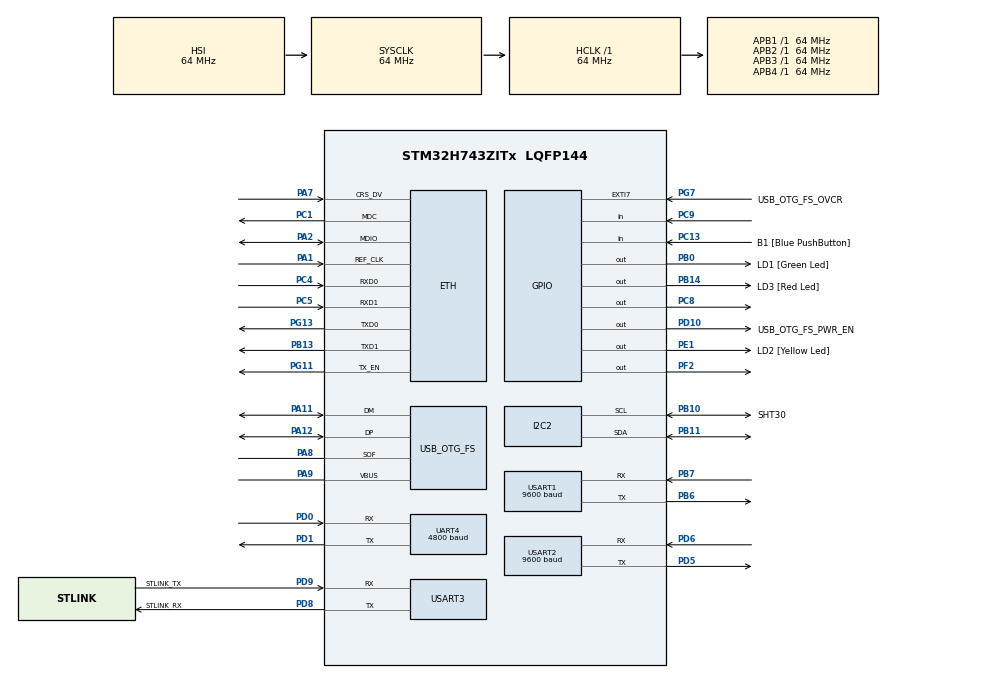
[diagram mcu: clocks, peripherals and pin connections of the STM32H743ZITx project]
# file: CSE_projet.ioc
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ETH.MediaInterface=HAL_ETH_RMII_MODE
Mcu.Family=STM32H7
Mcu.Name=STM32H743ZITx
Mcu.Package=LQFP144
NVIC.PriorityGroup=NVIC_PRIORITYGROUP_4
NVIC.RTC_WKUP_IRQn=true\:0\:0\:false\:false\:true\:true\:true\:true
NVIC.UART4_IRQn=true\:0\:0\:false\:false\:true\:true\:true\:true
NVIC.USART1_IRQn=true\:0\:0\:false\:false\:true\:true\:true\:true
NVIC.USART2_IRQn=true\:0\:0\:false\:false\:true\:true\:true\:true
NVIC.USART3_IRQn=true\:0\:0\:false\:false\:true\:true\:true\:true
PA1.Mode=RMII
PA1.Signal=ETH_REF_CLK
PA11.Mode=Device_Only
PA11.Signal=USB_OTG_FS_DM
PA12.Mode=Device_Only
PA12.Signal=USB_OTG_FS_DP
PA2.Mode=RMII
PA2.Signal=ETH_MDIO
PA7.Mode=RMII
PA7.Signal=ETH_CRS_DV
PA8.Mode=Activate_SOF_FS
PA8.Signal=USB_OTG_FS_SOF
PA9.Mode=Activate_VBUS
PA9.Signal=USB_OTG_FS_VBUS
PB0.GPIO_Label=LD1 [Green Led]
PB0.Signal=GPIO_Output
PB10.GPIO_Label=SHT30
PB10.GPIO_Pu=GPIO_NOPULL
PB10.Mode=I2C
PB10.Signal=I2C2_SCL
PB11.GPIO_Pu=GPIO_NOPULL
PB11.Mode=I2C
PB11.Signal=I2C2_SDA
PB13.Mode=RMII
PB13.Signal=ETH_TXD1
PB14.GPIO_Label=LD3 [Red Led]
PB14.Signal=GPIO_Output
PB6.Mode=Asynchronous
PB6.Signal=USART1_TX
PB7.Mode=Asynchronous
PB7.Signal=USART1_RX
PC1.Mode=RMII
PC1.Signal=ETH_MDC
PC13.GPIO_Label=B1 [Blue PushButton]
PC13.Signal=GPIO_Input
PC14-OSC32_IN\ (OSC32_IN).Mode=LSE-External-Oscillator
PC14-OSC32_IN\ (OSC32_IN).Signal=RCC_OSC32_IN
PC15-OSC32_OUT\ (OSC32_OUT).Mode=LSE-External-Oscillator
PC15-OSC32_OUT\ (OSC32_OUT).Signal=RCC_OSC32_OUT
PC4.Mode=RMII
PC4.Signal=ETH_RXD0
PC5.Mode=RMII
PC5.Signal=ETH_RXD1
PC8.Signal=GPIO_Output
PC9.Signal=GPIO_Input
PD0.Mode=Asynchronous
PD0.Signal=UART4_RX
PD1.Mode=Asynchronous
PD1.Signal=UART4_TX
PD10.GPIO_Label=USB_OTG_FS_PWR_EN
PD10.Signal=GPIO_Output
PD5.Mode=Asynchronous
PD5.Signal=USART2_TX
PD6.Mode=Asynchronous
PD6.Signal=USART2_RX
PD8.GPIO_Label=STLINK_RX
PD8.Mode=Asynchronous
PD8.Signal=USART3_TX
PD9.GPIO_Label=STLINK_TX
PD9.Mode=Asynchronous
PD9.Signal=USART3_RX
PE1.GPIO_Label=LD2 [Yellow Led]
PE1.Signal=GPIO_Output
PF2.Signal=GPIO_Output
PG11.Mode=RMII
PG11.Signal=ETH_TX_EN
PG13.Mode=RMII
PG13.Signal=ETH_TXD0
PG7.GPIO_Label=USB_OTG_FS_OVCR
PG7.Signal=GPXTI7
PH0-OSC_IN\ (PH0).Mode=HSE-External-Clock-Source
PH0-OSC_IN\ (PH0).Signal=RCC_OSC_IN
PH1-OSC_OUT\ (PH1).Signal=RCC_OSC_OUT
ProjectManager.HeapSize=0x200
ProjectManager.StackSize=0x400
ProjectManager.TargetToolchain=STM32CubeIDE
RCC.ADCFreq_Value=16125000
RCC.APB1Freq_Value=64000000
RCC.APB2Freq_Value=64000000
RCC.APB3Freq_Value=64000000
RCC.APB4Freq_Value=64000000
RCC.CortexFreq_Value=64000000
RCC.DIVM1=1
RCC.DIVN1=24
RCC.DIVQ1=4
RCC.HCLKFreq_Value=64000000
RCC.HSE_VALUE=8000000
RCC.PLLFRACN=0
RCC.PWR_Regulator_Voltage_Scale=PWR_REGULATOR_VOLTAGE_SCALE2
RCC.RTCClockSelection=RCC_RTCCLKSOURCE_LSE
RCC.SYSCLKFreq_VALUE=64000000
RCC.USBFreq_Value=48000000
RTC.WakeUpClock-WakeUp=RTC_WAKEUPCLOCK_CK_SPRE_16BITS
UART4.BaudRate=4800
USART1.BaudRate=9600
USART1.VirtualMode-Asynchronous=VM_ASYNC
USART2.BaudRate=9600
USART2.VirtualMode-Asynchronous=VM_ASYNC
USART3.VirtualMode-Asynchronous=VM_ASYNC
USB_OTG_FS.VirtualMode=Device_Only
VP_RTC_VS_RTC_Activate.Mode=RTC_Enabled
VP_RTC_VS_RTC_WakeUp_intern.Mode=WakeUp
board=NUCLEO-H743ZI2

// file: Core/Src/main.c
/* USER CODE BEGIN Header */
/**
 ******************************************************************************
 * @file           : main.c
 * @brief          : Main program body
 ******************************************************************************
 * @attention
 *
 * Copyright (c) 2022 STMicroelectronics.
 * All rights reserved.
 *
 * 1This software is licensed under terms that can be found in the LICENSE file
 * in the root directory of this software component.
 * If no LICENSE file comes with this software, it is provided AS-IS.
 *
 ******************************************************************************
 */
/* USER CODE END Header */
#include "main.h"
#include "string.h"

/* USER CODE BEGIN PD */
#define GPS_LENGTH 23
#define MIN5 0x012C
#define MIN1 0x003C
#define SEC10 0x000A
/* USER CODE END PD */

#if defined ( __ICCARM__ ) /*!< IAR Compiler */
#pragma location=0x30000000
ETH_DMADescTypeDef  DMARxDscrTab[ETH_RX_DESC_CNT]; /* Ethernet Rx DMA Descriptors */
#pragma location=0x30000200
ETH_DMADescTypeDef  DMATxDscrTab[ETH_TX_DESC_CNT]; /* Ethernet Tx DMA Descriptors */
#pragma location=0x30000260
uint8_t Rx_Buff[ETH_RX_DESC_CNT][ETH_MAX_PACKET_SIZE]; /* Ethernet Receive Buffers */

#elif defined ( __CC_ARM )  /* MDK ARM Compiler */

__attribute__((at(0x30000000))) ETH_DMADescTypeDef  DMARxDscrTab[ETH_RX_DESC_CNT]; /* Ethernet Rx DMA Descriptors */
__attribute__((at(0x30000200))) ETH_DMADescTypeDef  DMATxDscrTab[ETH_TX_DESC_CNT]; /* Ethernet Tx DMA Descriptors */
__attribute__((at(0x30000260))) uint8_t Rx_Buff[ETH_RX_DESC_CNT][ETH_MAX_PACKET_SIZE]; /* Ethernet Receive Buffer */

#elif defined ( __GNUC__ ) /* GNU Compiler */
ETH_DMADescTypeDef DMARxDscrTab[ETH_RX_DESC_CNT] __attribute__((section(".RxDecripSection"))); /* Ethernet Rx DMA Descriptors */
ETH_DMADescTypeDef DMATxDscrTab[ETH_TX_DESC_CNT] __attribute__((section(".TxDecripSection"))); /* Ethernet Tx DMA Descriptors */
uint8_t Rx_Buff[ETH_RX_DESC_CNT][ETH_MAX_PACKET_SIZE] __attribute__((section(".RxArraySection"))); /* Ethernet Receive Buffers */
#endif

ETH_TxPacketConfig TxConfig;

ETH_HandleTypeDef heth;

I2C_HandleTypeDef hi2c2;

RTC_HandleTypeDef hrtc;

UART_HandleTypeDef huart4;
UART_HandleTypeDef huart1;
UART_HandleTypeDef huart2;
UART_HandleTypeDef huart3;

PCD_HandleTypeDef hpcd_USB_OTG_FS;

/* USER CODE BEGIN PV */
float GPS_cleandata[2] = { 0 };
float NPK_cleandata[8] = { 0 }; //Données du capteur NPK
float SHT_cleandata[2] = { 0 };
unsigned long GAZ_cleandata[4] = {0};
int connected = 0;
int stop_gps = 0;
int got_gps = 0;
/* USER CODE END PV */

void SystemClock_Config(void);
static void MX_GPIO_Init(void);
static void MX_ETH_Init(void);
static void MX_USART3_UART_Init(void);
static void MX_USB_OTG_FS_PCD_Init(void);
static void MX_USART2_UART_Init(void);
static void MX_I2C2_Init(void);
static void MX_UART4_Init(void);
static void MX_USART1_UART_Init(void);
static void MX_RTC_Init(void);

/* USER CODE BEGIN 0 */
uint8_t UART1_rxBuffer = 0; 	//Raw message LoRa
uint8_t UART2_rxBuffer = 0; 			//Raw message GPS
uint8_t UART3_rxBuffer = 0; 			//Raw message USB
uint8_t UART4_rxBuffer[21] = { 0 };		//Raw message NPK

//--Decodage GPS--
void GPS_Decode(char Caracter) {
	static uint8_t GPS_PositionMessage[GPS_LENGTH] = { 0 }; //Reception Message GPS
	static uint8_t Number = 0;
	static uint8_t j = 0;

	float Lattitude_Deg = 0;
	float Lattitude_Min = 0;
	float Longitude_Deg = 0;
	float Longitude_Min = 0;

	if ((UART2_rxBuffer == 'L') && (Number == 0)) {
		Number = 1;
	} else if ((UART2_rxBuffer == 'L') && (Number == 1)) {
		Number = 2;
	} else if ((UART2_rxBuffer == ',') && (Number == 2)) {
		Number = 3;
		j = 0;
	} else if (Number == 3) {
		GPS_PositionMessage[j++] = UART2_rxBuffer;

		if (j == GPS_LENGTH) {

			j = 0;
			Number = 0;
			Lattitude_Deg = 10 * (GPS_PositionMessage[0] - '0')
					+ (GPS_PositionMessage[1] - '0');
			Lattitude_Min = 10 * (float) ((GPS_PositionMessage[2] - '0'))
					+ (float) ((GPS_PositionMessage[3] - '0'))
					+ (float) ((GPS_PositionMessage[5] - '0') * 0.1)
					+ (float) ((GPS_PositionMessage[6] - '0') * 0.01)
					+ (float) ((GPS_PositionMessage[7] - '0') * 0.001)
					+ (float) ((GPS_PositionMessage[8] - '0') * 0.0001)
					+ (float) ((GPS_PositionMessage[9] - '0') * 0.00001);

			Longitude_Deg = 10 * (GPS_PositionMessage[14] - '0')
					+ (GPS_PositionMessage[15] - '0');
			Longitude_Min = 10 * (float) ((GPS_PositionMessage[16] - '0'))
					+ (float) ((GPS_PositionMessage[17] - '0'))
					+ (float) ((GPS_PositionMessage[19] - '0') * 0.1)
					+ (float) ((GPS_PositionMessage[20] - '0') * 0.01)
					+ (float) ((GPS_PositionMessage[21] - '0') * 0.001)
					+ (float) ((GPS_PositionMessage[22] - '0') * 0.0001)
					+ (float) ((GPS_PositionMessage[23] - '0') * 0.00001);

			GPS_cleandata[0] = Lattitude_Deg + Lattitude_Min / 60.0;
			GPS_cleandata[1] = Longitude_Deg + Longitude_Min / 60.0;
			stop_gps = 1;
			Number = 0;
		}
	} else {
		Number = 0;
	}
}

//--Decodage NPK--
void NPK_Decode(float *NPK_cleandata) {
	for (uint8_t i = 0; i < 8; i++) {
		NPK_cleandata[i] = UART4_rxBuffer[3 + (2 * i)] * 16
				+ UART4_rxBuffer[4 + (2 * i)];
	}

	NPK_cleandata[0] = NPK_cleandata[0] / 10.0; //Temperature
	NPK_cleandata[1] = NPK_cleandata[1] / 10.0; //Humidité

}

//--Decodage SHT--
void SHT_Decode(float *SHT_cleandata) {

}

//Polling NPK
void get_NPK_data(void) {
	uint8_t command[8] = { 1, 3, 0, 0, 0, 8, 68, 12 };

	HAL_UART_Transmit(&huart4, command, 8, 200);
}

//Polling SHT30
void get_SHT_data(void) {

	//SHT SENSOR
	uint16_t SHTADDR = 0x44;
	uint16_t SHTADDRw = (SHTADDR << 1) | (0x00);
	uint16_t SHTADDRr = (SHTADDR << 1) | (0x01);

	//Command
	char command[2] = { 0 };
	command[0] = 0x2C;
	command[1] = 0x06;

	//Receive
	int temp = 0;
	uint8_t I2C2_rxBuffer[6] = { 0 };

	//Envoi
	HAL_I2C_Master_Transmit(&hi2c2, SHTADDRw, command, 2, 3000);

	//Reception
	HAL_I2C_Master_Receive(&hi2c2, SHTADDRr, I2C2_rxBuffer, 6, 3000);

	temp = (I2C2_rxBuffer[0] * 256 + I2C2_rxBuffer[1]);
	SHT_cleandata[0] = -45 + (175 * temp / 65535.0);
	SHT_cleandata[1] = 100 * (I2C2_rxBuffer[3] * 256 + I2C2_rxBuffer[4])
			/ 65535.0;

}

void get_GAZ_data(void) {
	//SHT SENSOR

#define ADDRESS_GAS_WR 0x10
#define ADDRESS_GAS_RD 0x11

	HAL_StatusTypeDef ret;
	//Command

	for (int i=0;i<4;i++)
	{
		char command = 0;

		switch(i){
		case 0:
			command = 0x01;
			break;
		case 1 :
			command = 0x03;
			break;
		case 2 :
			command = 0x05;
			break;
		case 3 :
			command = 0x07;
			break;
		default:
			break;
		};

		char data[4] = {0};

	//Envoi
	ret = HAL_I2C_Master_Transmit(&hi2c2, ADDRESS_GAS_WR, &command, 1,
			HAL_MAX_DELAY);

	//Reception
	ret = HAL_I2C_Master_Receive(&hi2c2, ADDRESS_GAS_RD, data, 4,
	HAL_MAX_DELAY);

	HAL_Delay(1);

	GAZ_cleandata[i] = data[0];
	GAZ_cleandata[i] |= data[1] << 8;
	GAZ_cleandata[i] |= data[2] << 16;
	GAZ_cleandata[i] |= data[3] << 24;

	}

	char j = 0;
}
//Affichage des Datas sur la console
void print_debug(void) {

	uint8_t buffer[500] = { 0 };

	sprintf(buffer, "=======================\r\n"
			"SHT TEMP = %.1f \r\n"
			"SHT_HUMID = %.1f \r\n"
			"=======================\r\n"
			"Lattitude = %f | Longitude = %f\r\n"
			"=======================\r\n"
			"NPK_TEMP = %.1f \r\n"
			"NPK_HUMID = %.1f \r\n"
			"NPK_CONDUCTIVITY = %.1f \r\n"
			"NPK_PH = %.1f \r\n"
			"NPK_NITROGENE = %.1f \r\n"
			"NPK_PHOSPHORE = %.1f \r\n"
			"NPK_POTASSIUM = %.1f \r\n"
			"NPK_SALINITY = %.1f \r\n"
			"=======================\r\n"
			"GAZ_NO2 = %u \r\n"
			"GAZ_ALCOHOL = %u \r\n"
			"GAZ_VOC = %u \r\n"
			"GAZ_C0 = %u \r\n"
			"=======================\r\n",SHT_cleandata[0], SHT_cleandata[1],
			GPS_cleandata[0], GPS_cleandata[1], NPK_cleandata[0],
			NPK_cleandata[1], NPK_cleandata[2], NPK_cleandata[3],
			NPK_cleandata[4], NPK_cleandata[5], NPK_cleandata[6],
			NPK_cleandata[7],GAZ_cleandata[0],GAZ_cleandata[1],GAZ_cleandata[2],GAZ_cleandata[3]);

	HAL_UART_Transmit(&huart3, buffer, sizeof(buffer), 100);
}

void ClignoDelay(int Delay)
{
	HAL_GPIO_WritePin(GPIOF, GPIO_PIN_2, 0);
	HAL_Delay(Delay);
	HAL_GPIO_WritePin(GPIOF, GPIO_PIN_2, 1);
	HAL_Delay(Delay);
	HAL_GPIO_WritePin(GPIOF, GPIO_PIN_2, 0);
	HAL_Delay(Delay);
	HAL_GPIO_WritePin(GPIOF, GPIO_PIN_2, 1);
	HAL_Delay(Delay);
}

void print_lora(void) {

	char message[50] = { 0 };
	int Delay = 2000;

	sprintf(message, "AT+MSG=GPSLAT_%f--GPSLONG_%f\r\n", GPS_cleandata[0],
			GPS_cleandata[1]);
	HAL_UART_Transmit(&huart1, message, sizeof(message), 5000);

	ClignoDelay(Delay);

	sprintf(message, "AT+MSG=NPKTEM_%.2f--"
			"NPKHUM_%.2f\r\n", NPK_cleandata[0], NPK_cleandata[1]);
	HAL_UART_Transmit(&huart1, message, sizeof(message), 5000);

	ClignoDelay(Delay);

	sprintf(message, "AT+MSG=NPKCON_%.2f--"
			"NPKPH_%.2f\r\n", NPK_cleandata[2], NPK_cleandata[3]);
	HAL_UART_Transmit(&huart1, message, sizeof(message), 5000);

	ClignoDelay(Delay);

	sprintf(message, "AT+MSG=NPKNIT_%.2f--"
			"NPKPHO_%.2f\r\n", NPK_cleandata[4], NPK_cleandata[5]);
	HAL_UART_Transmit(&huart1, message, sizeof(message), 5000);

	ClignoDelay(Delay);

	sprintf(message, "AT+MSG=NPKPOT_%.2f--"
			"NPKSAL_%.2f\r\n", NPK_cleandata[6], NPK_cleandata[7]);
	HAL_UART_Transmit(&huart1, message, sizeof(message), 5000);

	ClignoDelay(Delay);

	sprintf(message, "AT+MSG=SHTTEM_%.2f--"
			"SHTHUM_%.2f\r\n", SHT_cleandata[0], SHT_cleandata[1]);

	HAL_UART_Transmit(&huart1, message, sizeof(message), 5000);

	ClignoDelay(Delay);

	sprintf(message, "AT+MSG=GAZNO2_%u--"
			"GAZALCO_%u\r\n", GAZ_cleandata[0], GAZ_cleandata[1]);

	HAL_UART_Transmit(&huart1, message, sizeof(message), 5000);

	ClignoDelay(Delay);

	sprintf(message, "AT+MSG=GAZVOC_%u--"
				"GAZCO_%u\r\n", GAZ_cleandata[2], GAZ_cleandata[3]);

	HAL_UART_Transmit(&huart1, message, sizeof(message), 5000);

	ClignoDelay(Delay);
}

void LoRa_Init(void) {

	int Delay = 50;

	HAL_UART_Transmit(&huart1, "AT+MODE=LWOTAA\r\n", 30, 100);

	ClignoDelay(Delay);

	HAL_UART_Transmit(&huart1, "AT+DR=EU868\r\n", 30, 100);
	ClignoDelay(Delay);

	HAL_UART_Transmit(&huart1, "AT+ID=AppEui\r\n", 30, 100);
	ClignoDelay(Delay);

	HAL_UART_Transmit(&huart1, "AT+ID=DevEui\r\n", 30, 100);
	ClignoDelay(Delay);

	HAL_UART_Transmit(&huart1, "AT+ID=DevAddr\r\n", 30, 100);
	ClignoDelay(Delay);

	HAL_UART_Transmit(&huart1, "AT+DR\r\n", 30, 100);
	ClignoDelay(Delay);

	HAL_UART_Transmit(&huart1, "AT+CH=NUM,0-2\r\n", 30, 100);
	ClignoDelay(Delay);

	HAL_UART_Transmit(&huart1,
			"AT+KEY=APPKEY,\"8155B636AEDF51D52598992A7DA229A4\"\r\n", 100, 500);
	ClignoDelay(Delay);

	HAL_UART_Transmit(&huart1, "AT+CLASS=A\r\n", 30, 100);
	ClignoDelay(Delay);

	HAL_UART_Transmit(&huart1, "AT+PORT=8\r\n", 30, 100);
	ClignoDelay(Delay);

	HAL_UART_Transmit(&huart1, "AT+UART=TIMEOUT, 1000\r\n", 30, 100);
	ClignoDelay(Delay);

	do {
		HAL_GPIO_WritePin(GPIOF, GPIO_PIN_2, 0);
		HAL_UART_Transmit(&huart1, "AT+JOIN\r\n", 30, 500);
		ClignoDelay(50);
		HAL_Delay(4000);
	} while (!connected);

	HAL_GPIO_WritePin(GPIOF, GPIO_PIN_2, 1);
}

void HAL_RTCEx_WakeUpTimerEventCallback(RTC_HandleTypeDef *hrtc) {
	SystemClock_Config();
	HAL_ResumeTick();

	uint8_t buffer[40] = { 0 };
	sprintf(buffer, "WakeUp from RTC\r\n");
	HAL_UART_Transmit(&huart3, buffer, sizeof(buffer), 100);
}

//--Reception des UARTS--
void HAL_UART_RxCpltCallback(UART_HandleTypeDef *huart) {

	if (huart->Instance == USART1) //Reception message LoRa
	{
		HAL_UART_Receive_IT(&huart1, &UART1_rxBuffer, 1); //Restart Interrupt
		static char MessageReceived[100] = { 0 };
		static uint8_t i = 0;

		if (UART1_rxBuffer == 10) //Test si réception \n
				{
			MessageReceived[i++] = UART1_rxBuffer;

			//Envoi le message reçu sur la console
			HAL_UART_Transmit(&huart3, &MessageReceived, i, 500);

			if (!strcmp(MessageReceived, "+JOIN: Network joined\r\n")) {
				connected = 1;
			}
			memset(MessageReceived, 0, sizeof(MessageReceived));
			i = 0;
		} else {
			MessageReceived[i++] = UART1_rxBuffer;
		}

	} else if (huart->Instance == USART2) { //Reception message GPS
		GPS_Decode(UART2_rxBuffer); //Decode GPS
		if (stop_gps == 0) {
			HAL_UART_Receive_IT(&huart2, &UART2_rxBuffer, 1); //Restart Interrupt
		}

	} else if (huart->Instance == USART3) // Console
	{
		HAL_UART_Receive_IT(&huart3, &UART3_rxBuffer, 1); //Restart Interrupt
		static char MessageReceived[100] = { 0 };
		static uint8_t i = 0;

		if (UART3_rxBuffer == 10) //Test si réception \n
				{
			MessageReceived[i] = UART3_rxBuffer;

			//Envoi le message au module LoRa
			HAL_UART_Transmit(&huart1, &MessageReceived, i, 500);

			memset(MessageReceived, 0, sizeof(MessageReceived));
			i = 0;
		} else {
			MessageReceived[i++] = UART3_rxBuffer;
		}

	} else if (huart->Instance == UART4) {			//Reception Message NPK
		HAL_UART_Receive_IT(&huart4, &UART4_rxBuffer, 21); //Reçoit les 21 bytes
		NPK_Decode(NPK_cleandata); //Triage et Parsing
	} else {
	}
}
/* USER CODE END 0 */

int main(void) {

	/* MCU Configuration--------------------------------------------------------*/

	/* Reset of all peripherals, Initializes the Flash interface and the Systick. */
	HAL_Init();

	/* Configure the system clock */
	SystemClock_Config();

	/* Initialize all configured peripherals */
	MX_GPIO_Init();
	MX_ETH_Init();
	MX_USART3_UART_Init();
	MX_USB_OTG_FS_PCD_Init();
	MX_USART2_UART_Init();
	MX_I2C2_Init();
	MX_UART4_Init();
	MX_USART1_UART_Init();
	MX_RTC_Init();

	/* USER CODE BEGIN 2 */
	HAL_GPIO_WritePin(GPIOF, GPIO_PIN_2, 0);
	HAL_UART_Receive_IT(&huart1, &UART1_rxBuffer, 1); //INIT Interrupt UART pour LORA
	HAL_UART_Receive_IT(&huart2, &UART2_rxBuffer, 1); //INIT Interrupt UART pour GPS
	HAL_UART_Receive_IT(&huart3, &UART3_rxBuffer, 1); //INIT Interrupt UART pour USB
	HAL_UART_Receive_IT(&huart4, UART4_rxBuffer, 21); //INIT Interrupt UART pour NPK

	/* USER CODE END 2 */

	/* Infinite loop */
	/* USER CODE BEGIN WHILE */
	while (1) {

		//------------------WAKEUP STOPMODE------------------------------------
		//** Wake Up Ici**
		connected = 0;
		stop_gps = 0;
		HAL_RTCEx_DeactivateWakeUpTimer(&hrtc);
		MX_USART2_UART_Init();
		HAL_UART_Receive_IT(&huart2, &UART2_rxBuffer, 1); //Restart Interrupt

		//----------------------LORA-------------------------------------------
		if (connected == 0) {
			LoRa_Init(); //Init and connect to LoRa
		}

		//----------------------SHT SENSOR/I2C---------------------------------
		get_SHT_data();

		//----------------------GAZ SENSOR/I2C---------------------------------
		get_GAZ_data();

		//----------------------NPK SENSOR/UART--------------------------------
		get_NPK_data();

		//---------------------GPS---------------------------------------------

		//------------------PRINT DATA------------------------------------------
		print_debug();
		print_lora();

		//------------------ENTERING STOPMODE--------------------------------------------
		uint8_t buffer[40] = { 0 };
		HAL_GPIO_WritePin(GPIOF, GPIO_PIN_2, 0);
		sprintf(buffer, "Entering StopMode\r\n");
		HAL_UART_Transmit(&huart3, buffer, sizeof(buffer), 100);
		HAL_UART_Transmit(&huart1, "AT+LOWPOWER\r\n", 30, 100);

		//Every 5min
		if (HAL_RTCEx_SetWakeUpTimer_IT(&hrtc, SEC10,
		RTC_WAKEUPCLOCK_CK_SPRE_16BITS) != HAL_OK) {
			Error_Handler();
		}

		HAL_SuspendTick();
		HAL_PWR_EnterSTOPMode(PWR_MAINREGULATOR_ON, PWR_STOPENTRY_WFI);
		HAL_Delay(100);
	}
	/* USER CODE END WHILE */

}

void SystemClock_Config(void) {
	RCC_OscInitTypeDef RCC_OscInitStruct = { 0 };
	RCC_ClkInitTypeDef RCC_ClkInitStruct = { 0 };

	/** Supply configuration update enable
	 */
	HAL_PWREx_ConfigSupply(PWR_LDO_SUPPLY);

	/** Configure the main internal regulator output voltage
	 */
	__HAL_PWR_VOLTAGESCALING_CONFIG(PWR_REGULATOR_VOLTAGE_SCALE2);

	while (!__HAL_PWR_GET_FLAG(PWR_FLAG_VOSRDY)) {
	}

	/** Configure LSE Drive Capability
	 */
	HAL_PWR_EnableBkUpAccess();
	__HAL_RCC_LSEDRIVE_CONFIG(RCC_LSEDRIVE_LOW);

	/** Initializes the RCC Oscillators according to the specified parameters
	 * in the RCC_OscInitTypeDef structure.
	 */
	RCC_OscInitStruct.OscillatorType = RCC_OSCILLATORTYPE_HSI
			| RCC_OSCILLATORTYPE_HSE | RCC_OSCILLATORTYPE_LSE;
	RCC_OscInitStruct.HSEState = RCC_HSE_BYPASS;
	RCC_OscInitStruct.LSEState = RCC_LSE_ON;
	RCC_OscInitStruct.HSIState = RCC_HSI_DIV1;
	RCC_OscInitStruct.HSICalibrationValue = RCC_HSICALIBRATION_DEFAULT;
	RCC_OscInitStruct.PLL.PLLState = RCC_PLL_ON;
	RCC_OscInitStruct.PLL.PLLSource = RCC_PLLSOURCE_HSE;
	RCC_OscInitStruct.PLL.PLLM = 1;
	RCC_OscInitStruct.PLL.PLLN = 24;
	RCC_OscInitStruct.PLL.PLLP = 2;
	RCC_OscInitStruct.PLL.PLLQ = 4;
	RCC_OscInitStruct.PLL.PLLR = 2;
	RCC_OscInitStruct.PLL.PLLRGE = RCC_PLL1VCIRANGE_3;
	RCC_OscInitStruct.PLL.PLLVCOSEL = RCC_PLL1VCOWIDE;
	RCC_OscInitStruct.PLL.PLLFRACN = 0;
	if (HAL_RCC_OscConfig(&RCC_OscInitStruct) != HAL_OK) {
		Error_Handler();
	}

	/** Initializes the CPU, AHB and APB buses clocks
	 */
	RCC_ClkInitStruct.ClockType = RCC_CLOCKTYPE_HCLK | RCC_CLOCKTYPE_SYSCLK
			| RCC_CLOCKTYPE_PCLK1 | RCC_CLOCKTYPE_PCLK2 | RCC_CLOCKTYPE_D3PCLK1
			| RCC_CLOCKTYPE_D1PCLK1;
	RCC_ClkInitStruct.SYSCLKSource = RCC_SYSCLKSOURCE_HSI;
	RCC_ClkInitStruct.SYSCLKDivider = RCC_SYSCLK_DIV1;
	RCC_ClkInitStruct.AHBCLKDivider = RCC_HCLK_DIV1;
	RCC_ClkInitStruct.APB3CLKDivider = RCC_APB3_DIV1;
	RCC_ClkInitStruct.APB1CLKDivider = RCC_APB1_DIV1;
	RCC_ClkInitStruct.APB2CLKDivider = RCC_APB2_DIV1;
	RCC_ClkInitStruct.APB4CLKDivider = RCC_APB4_DIV1;

	if (HAL_RCC_ClockConfig(&RCC_ClkInitStruct, FLASH_LATENCY_1) != HAL_OK) {
		Error_Handler();
	}
}

static void MX_ETH_Init(void) {

	static uint8_t MACAddr[6];

	heth.Instance = ETH;
	MACAddr[0] = 0x00;
	MACAddr[1] = 0x80;
	MACAddr[2] = 0xE1;
	MACAddr[3] = 0x00;
	MACAddr[4] = 0x00;
	MACAddr[5] = 0x00;
	heth.Init.MACAddr = &MACAddr[0];
	heth.Init.MediaInterface = HAL_ETH_RMII_MODE;
	heth.Init.TxDesc = DMATxDscrTab;
	heth.Init.RxDesc = DMARxDscrTab;
	heth.Init.RxBuffLen = 1524;

	if (HAL_ETH_Init(&heth) != HAL_OK) {
		Error_Handler();
	}

	memset(&TxConfig, 0, sizeof(ETH_TxPacketConfig));
	TxConfig.Attributes = ETH_TX_PACKETS_FEATURES_CSUM
			| ETH_TX_PACKETS_FEATURES_CRCPAD;
	TxConfig.ChecksumCtrl = ETH_CHECKSUM_IPHDR_PAYLOAD_INSERT_PHDR_CALC;
	TxConfig.CRCPadCtrl = ETH_CRC_PAD_INSERT;

}

static void MX_I2C2_Init(void) {

	hi2c2.Instance = I2C2;
	hi2c2.Init.Timing = 0x10707DBC;
	hi2c2.Init.OwnAddress1 = 0;
	hi2c2.Init.AddressingMode = I2C_ADDRESSINGMODE_7BIT;
	hi2c2.Init.DualAddressMode = I2C_DUALADDRESS_DISABLE;
	hi2c2.Init.OwnAddress2 = 0;
	hi2c2.Init.OwnAddress2Masks = I2C_OA2_NOMASK;
	hi2c2.Init.GeneralCallMode = I2C_GENERALCALL_DISABLE;
	hi2c2.Init.NoStretchMode = I2C_NOSTRETCH_DISABLE;
	if (HAL_I2C_Init(&hi2c2) != HAL_OK) {
		Error_Handler();
	}

	/** Configure Analogue filter
	 */
	if (HAL_I2CEx_ConfigAnalogFilter(&hi2c2, I2C_ANALOGFILTER_ENABLE)
			!= HAL_OK) {
		Error_Handler();
	}

	/** Configure Digital filter
	 */
	if (HAL_I2CEx_ConfigDigitalFilter(&hi2c2, 0) != HAL_OK) {
		Error_Handler();
	}

}

static void MX_RTC_Init(void) {

	/** Initialize RTC Only
	 */
	hrtc.Instance = RTC;
	hrtc.Init.HourFormat = RTC_HOURFORMAT_24;
	hrtc.Init.AsynchPrediv = 127;
	hrtc.Init.SynchPrediv = 255;
	hrtc.Init.OutPut = RTC_OUTPUT_DISABLE;
	hrtc.Init.OutPutPolarity = RTC_OUTPUT_POLARITY_HIGH;
	hrtc.Init.OutPutType = RTC_OUTPUT_TYPE_OPENDRAIN;
	hrtc.Init.OutPutRemap = RTC_OUTPUT_REMAP_NONE;
	if (HAL_RTC_Init(&hrtc) != HAL_OK) {
		Error_Handler();
	}

	/** Enable the WakeUp
	 */
	/*if (HAL_RTCEx_SetWakeUpTimer_IT(&hrtc, 0, RTC_WAKEUPCLOCK_CK_SPRE_16BITS) != HAL_OK)
	 {
	 Error_Handler();
	 }*/

}

static void MX_UART4_Init(void) {

	huart4.Instance = UART4;
	huart4.Init.BaudRate = 4800;
	huart4.Init.WordLength = UART_WORDLENGTH_8B;
	huart4.Init.StopBits = UART_STOPBITS_1;
	huart4.Init.Parity = UART_PARITY_NONE;
	huart4.Init.Mode = UART_MODE_TX_RX;
	huart4.Init.HwFlowCtl = UART_HWCONTROL_NONE;
	huart4.Init.OverSampling = UART_OVERSAMPLING_16;
	huart4.Init.OneBitSampling = UART_ONE_BIT_SAMPLE_DISABLE;
	huart4.Init.ClockPrescaler = UART_PRESCALER_DIV1;
	huart4.AdvancedInit.AdvFeatureInit = UART_ADVFEATURE_NO_INIT;
	if (HAL_UART_Init(&huart4) != HAL_OK) {
		Error_Handler();
	}
	if (HAL_UARTEx_SetTxFifoThreshold(&huart4, UART_TXFIFO_THRESHOLD_1_8)
			!= HAL_OK) {
		Error_Handler();
	}
	if (HAL_UARTEx_SetRxFifoThreshold(&huart4, UART_RXFIFO_THRESHOLD_1_8)
			!= HAL_OK) {
		Error_Handler();
	}
	if (HAL_UARTEx_DisableFifoMode(&huart4) != HAL_OK) {
		Error_Handler();
	}

}

static void MX_USART1_UART_Init(void) {

	huart1.Instance = USART1;
	huart1.Init.BaudRate = 9600;
	huart1.Init.WordLength = UART_WORDLENGTH_8B;
	huart1.Init.StopBits = UART_STOPBITS_1;
	huart1.Init.Parity = UART_PARITY_NONE;
	huart1.Init.Mode = UART_MODE_TX_RX;
	huart1.Init.HwFlowCtl = UART_HWCONTROL_NONE;
	huart1.Init.OverSampling = UART_OVERSAMPLING_16;
	huart1.Init.OneBitSampling = UART_ONE_BIT_SAMPLE_DISABLE;
	huart1.Init.ClockPrescaler = UART_PRESCALER_DIV1;
	huart1.AdvancedInit.AdvFeatureInit = UART_ADVFEATURE_NO_INIT;
	if (HAL_UART_Init(&huart1) != HAL_OK) {
		Error_Handler();
	}
	if (HAL_UARTEx_SetTxFifoThreshold(&huart1, UART_TXFIFO_THRESHOLD_1_8)
			!= HAL_OK) {
		Error_Handler();
	}
	if (HAL_UARTEx_SetRxFifoThreshold(&huart1, UART_RXFIFO_THRESHOLD_1_8)
			!= HAL_OK) {
		Error_Handler();
	}
	if (HAL_UARTEx_DisableFifoMode(&huart1) != HAL_OK) {
		Error_Handler();
	}

}

static void MX_USART2_UART_Init(void) {

	huart2.Instance = USART2;
	huart2.Init.BaudRate = 9600;
	huart2.Init.WordLength = UART_WORDLENGTH_8B;
	huart2.Init.StopBits = UART_STOPBITS_1;
	huart2.Init.Parity = UART_PARITY_NONE;
	huart2.Init.Mode = UART_MODE_TX_RX;
	huart2.Init.HwFlowCtl = UART_HWCONTROL_NONE;
	huart2.Init.OverSampling = UART_OVERSAMPLING_16;
	huart2.Init.OneBitSampling = UART_ONE_BIT_SAMPLE_DISABLE;
	huart2.Init.ClockPrescaler = UART_PRESCALER_DIV1;
	huart2.AdvancedInit.AdvFeatureInit = UART_ADVFEATURE_NO_INIT;
	if (HAL_UART_Init(&huart2) != HAL_OK) {
		Error_Handler();
	}
	if (HAL_UARTEx_SetTxFifoThreshold(&huart2, UART_TXFIFO_THRESHOLD_1_8)
			!= HAL_OK) {
		Error_Handler();
	}
	if (HAL_UARTEx_SetRxFifoThreshold(&huart2, UART_RXFIFO_THRESHOLD_1_8)
			!= HAL_OK) {
		Error_Handler();
	}
	if (HAL_UARTEx_DisableFifoMode(&huart2) != HAL_OK) {
		Error_Handler();
	}

}

static void MX_USART3_UART_Init(void) {

	huart3.Instance = USART3;
	huart3.Init.BaudRate = 115200;
	huart3.Init.WordLength = UART_WORDLENGTH_8B;
	huart3.Init.StopBits = UART_STOPBITS_1;
	huart3.Init.Parity = UART_PARITY_NONE;
	huart3.Init.Mode = UART_MODE_TX_RX;
	huart3.Init.HwFlowCtl = UART_HWCONTROL_NONE;
	huart3.Init.OverSampling = UART_OVERSAMPLING_16;
	huart3.Init.OneBitSampling = UART_ONE_BIT_SAMPLE_DISABLE;
	huart3.Init.ClockPrescaler = UART_PRESCALER_DIV1;
	huart3.AdvancedInit.AdvFeatureInit = UART_ADVFEATURE_NO_INIT;
	if (HAL_UART_Init(&huart3) != HAL_OK) {
		Error_Handler();
	}
	if (HAL_UARTEx_SetTxFifoThreshold(&huart3, UART_TXFIFO_THRESHOLD_1_8)
			!= HAL_OK) {
		Error_Handler();
	}
	if (HAL_UARTEx_SetRxFifoThreshold(&huart3, UART_RXFIFO_THRESHOLD_1_8)
			!= HAL_OK) {
		Error_Handler();
	}
	if (HAL_UARTEx_DisableFifoMode(&huart3) != HAL_OK) {
		Error_Handler();
	}

}

static void MX_USB_OTG_FS_PCD_Init(void) {

	hpcd_USB_OTG_FS.Instance = USB_OTG_FS;
	hpcd_USB_OTG_FS.Init.dev_endpoints = 9;
	hpcd_USB_OTG_FS.Init.speed = PCD_SPEED_FULL;
	hpcd_USB_OTG_FS.Init.dma_enable = DISABLE;
	hpcd_USB_OTG_FS.Init.phy_itface = PCD_PHY_EMBEDDED;
	hpcd_USB_OTG_FS.Init.Sof_enable = ENABLE;
	hpcd_USB_OTG_FS.Init.low_power_enable = DISABLE;
	hpcd_USB_OTG_FS.Init.lpm_enable = DISABLE;
	hpcd_USB_OTG_FS.Init.battery_charging_enable = ENABLE;
	hpcd_USB_OTG_FS.Init.vbus_sensing_enable = ENABLE;
	hpcd_USB_OTG_FS.Init.use_dedicated_ep1 = DISABLE;
	if (HAL_PCD_Init(&hpcd_USB_OTG_FS) != HAL_OK) {
		Error_Handler();
	}

}

static void MX_GPIO_Init(void) {
	GPIO_InitTypeDef GPIO_InitStruct = { 0 };

	/* GPIO Ports Clock Enable */
	__HAL_RCC_GPIOC_CLK_ENABLE();
	__HAL_RCC_GPIOF_CLK_ENABLE();
	__HAL_RCC_GPIOH_CLK_ENABLE();
	__HAL_RCC_GPIOA_CLK_ENABLE();
	__HAL_RCC_GPIOB_CLK_ENABLE();
	__HAL_RCC_GPIOD_CLK_ENABLE();
	__HAL_RCC_GPIOG_CLK_ENABLE();
	__HAL_RCC_GPIOE_CLK_ENABLE();

	/*Configure GPIO pin Output Level */
	HAL_GPIO_WritePin(GPIOF, GPIO_PIN_2, GPIO_PIN_RESET);

	/*Configure GPIO pin Output Level */
	HAL_GPIO_WritePin(GPIOB, LD1_Pin | LD3_Pin, GPIO_PIN_RESET);

	/*Configure GPIO pin Output Level */
	HAL_GPIO_WritePin(USB_OTG_FS_PWR_EN_GPIO_Port, USB_OTG_FS_PWR_EN_Pin,
			GPIO_PIN_RESET);

	/*Configure GPIO pin Output Level */
	HAL_GPIO_WritePin(GPIOC, GPIO_PIN_8, GPIO_PIN_RESET);

	/*Configure GPIO pin Output Level */
	HAL_GPIO_WritePin(LD2_GPIO_Port, LD2_Pin, GPIO_PIN_RESET);

	/*Configure GPIO pins : B1_Pin PC9 */
	GPIO_InitStruct.Pin = B1_Pin | GPIO_PIN_9;
	GPIO_InitStruct.Mode = GPIO_MODE_INPUT;
	GPIO_InitStruct.Pull = GPIO_NOPULL;
	HAL_GPIO_Init(GPIOC, &GPIO_InitStruct);

	/*Configure GPIO pin : PF2 */
	GPIO_InitStruct.Pin = GPIO_PIN_2;
	GPIO_InitStruct.Mode = GPIO_MODE_OUTPUT_PP;
	GPIO_InitStruct.Pull = GPIO_NOPULL;
	GPIO_InitStruct.Speed = GPIO_SPEED_FREQ_LOW;
	HAL_GPIO_Init(GPIOF, &GPIO_InitStruct);

	/*Configure GPIO pins : LD1_Pin LD3_Pin */
	GPIO_InitStruct.Pin = LD1_Pin | LD3_Pin;
	GPIO_InitStruct.Mode = GPIO_MODE_OUTPUT_PP;
	GPIO_InitStruct.Pull = GPIO_NOPULL;
	GPIO_InitStruct.Speed = GPIO_SPEED_FREQ_LOW;
	HAL_GPIO_Init(GPIOB, &GPIO_InitStruct);

	/*Configure GPIO pin : USB_OTG_FS_PWR_EN_Pin */
	GPIO_InitStruct.Pin = USB_OTG_FS_PWR_EN_Pin;
	GPIO_InitStruct.Mode = GPIO_MODE_OUTPUT_PP;
	GPIO_InitStruct.Pull = GPIO_NOPULL;
	GPIO_InitStruct.Speed = GPIO_SPEED_FREQ_LOW;
	HAL_GPIO_Init(USB_OTG_FS_PWR_EN_GPIO_Port, &GPIO_InitStruct);

	/*Configure GPIO pin : USB_OTG_FS_OVCR_Pin */
	GPIO_InitStruct.Pin = USB_OTG_FS_OVCR_Pin;
	GPIO_InitStruct.Mode = GPIO_MODE_IT_RISING;
	GPIO_InitStruct.Pull = GPIO_NOPULL;
	HAL_GPIO_Init(USB_OTG_FS_OVCR_GPIO_Port, &GPIO_InitStruct);

	/*Configure GPIO pin : PC8 */
	GPIO_InitStruct.Pin = GPIO_PIN_8;
	GPIO_InitStruct.Mode = GPIO_MODE_OUTPUT_PP;
	GPIO_InitStruct.Pull = GPIO_NOPULL;
	GPIO_InitStruct.Speed = GPIO_SPEED_FREQ_LOW;
	HAL_GPIO_Init(GPIOC, &GPIO_InitStruct);

	/*Configure GPIO pin : LD2_Pin */
	GPIO_InitStruct.Pin = LD2_Pin;
	GPIO_InitStruct.Mode = GPIO_MODE_OUTPUT_PP;
	GPIO_InitStruct.Pull = GPIO_NOPULL;
	GPIO_InitStruct.Speed = GPIO_SPEED_FREQ_LOW;
	HAL_GPIO_Init(LD2_GPIO_Port, &GPIO_InitStruct);

}

void Error_Handler(void) {
	__disable_irq();
	while (1) {
	}
}
